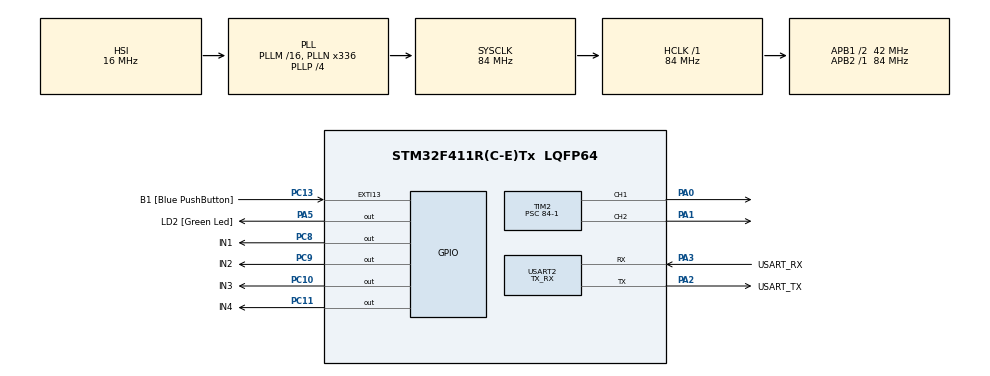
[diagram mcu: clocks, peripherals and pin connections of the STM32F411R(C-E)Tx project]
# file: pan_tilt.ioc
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Mcu.Family=STM32F4
Mcu.Name=STM32F411R(C-E)Tx
Mcu.Package=LQFP64
NVIC.PriorityGroup=NVIC_PRIORITYGROUP_0
NVIC.TIM2_IRQn=true\:0\:0\:false\:false\:true\:true\:true\:true
NVIC.TIM3_IRQn=true\:0\:0\:false\:false\:true\:true\:true\:true
NVIC.USART2_IRQn=true\:0\:0\:false\:false\:true\:true\:true\:true
PA0-WKUP.Signal=S_TIM2_CH1_ETR
PA1.Signal=S_TIM2_CH2
PA13.GPIO_Label=TMS
PA13.Mode=Serial_Wire
PA13.Signal=SYS_JTMS-SWDIO
PA14.GPIO_Label=TCK
PA14.Mode=Serial_Wire
PA14.Signal=SYS_JTCK-SWCLK
PA2.GPIO_Label=USART_TX
PA2.Mode=Asynchronous
PA2.Signal=USART2_TX
PA3.GPIO_Label=USART_RX
PA3.Mode=Asynchronous
PA3.Signal=USART2_RX
PA5.GPIO_Label=LD2 [Green Led]
PA5.Signal=GPIO_Output
PB3.GPIO_Label=SWO
PB3.Signal=SYS_JTDO-SWO
PC10.GPIO_Label=IN3
PC10.Signal=GPIO_Output
PC11.GPIO_Label=IN4
PC11.Signal=GPIO_Output
PC13-ANTI_TAMP.GPIO_Label=B1 [Blue PushButton]
PC13-ANTI_TAMP.GPIO_ModeDefaultEXTI=GPIO_MODE_IT_FALLING
PC13-ANTI_TAMP.Signal=GPXTI13
PC14-OSC32_IN.Mode=LSE-External-Oscillator
PC14-OSC32_IN.Signal=RCC_OSC32_IN
PC15-OSC32_OUT.Mode=LSE-External-Oscillator
PC15-OSC32_OUT.Signal=RCC_OSC32_OUT
PC8.GPIO_Label=IN1
PC8.Signal=GPIO_Output
PC9.GPIO_Label=IN2
PC9.Signal=GPIO_Output
PH0\ -\ OSC_IN.Mode=HSE-External-Clock-Source
PH0\ -\ OSC_IN.Signal=RCC_OSC_IN
PH1\ -\ OSC_OUT.Mode=HSE-External-Clock-Source
PH1\ -\ OSC_OUT.Signal=RCC_OSC_OUT
ProjectManager.HeapSize=0x200
ProjectManager.StackSize=0x400
ProjectManager.TargetToolchain=CMake
RCC.48MHZClocksFreq_Value=84000000
RCC.AHBFreq_Value=84000000
RCC.APB1CLKDivider=RCC_HCLK_DIV2
RCC.APB1Freq_Value=42000000
RCC.APB1TimFreq_Value=84000000
RCC.APB2Freq_Value=84000000
RCC.APB2TimFreq_Value=84000000
RCC.CortexFreq_Value=84000000
RCC.FLatency-AdvancedSettings=FLASH_LATENCY_2
RCC.HCLKFreq_Value=84000000
RCC.HSE_VALUE=8000000
RCC.HSI_VALUE=16000000
RCC.PLLN=336
RCC.PLLP=RCC_PLLP_DIV4
RCC.SYSCLKFreq_VALUE=84000000
RCC.SYSCLKSource=RCC_SYSCLKSOURCE_PLLCLK
RCC.VCOOutputFreq_Value=336000000
SH.S_TIM2_CH1_ETR.0=TIM2_CH1,PWM Generation1 CH1
SH.S_TIM2_CH2.0=TIM2_CH2,PWM Generation2 CH2
TIM2.Channel-PWM\ Generation1\ CH1=TIM_CHANNEL_1
TIM2.Channel-PWM\ Generation2\ CH2=TIM_CHANNEL_2
TIM2.Period=20000-1
TIM2.Prescaler=84-1
TIM3.Channel-Output\ Compare1\ No\ Output=TIM_CHANNEL_1
TIM3.Period=1000-1
TIM3.Prescaler=84-1
USART2.Mode=MODE_TX_RX
USART2.VirtualMode=VM_ASYNC
VP_TIM3_VS_no_output1.Mode=Output Compare1 No Output
board=NUCLEO-F411RE

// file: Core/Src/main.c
/* USER CODE BEGIN Header */
/**
 ******************************************************************************
 * @file           : main.c
 * @brief          : UART2 RX via DMA + IDLE interrupt
 ******************************************************************************
 * @attention
 * Copyright (c) 2025 STMicroelectronics.
 * All rights reserved.
 ******************************************************************************
 */
/* USER CODE END Header */
#include "main.h"

/* USER CODE BEGIN Includes */
#include <string.h>
/* USER CODE END Includes */

/* USER CODE BEGIN PD */
#define LEVEL_1_DEGREE 5
#define LEVEL_2_DEGREE 4
#define LEVEL_3_DEGREE 3
#define LEVEL_4_DEGREE 2
#define LEVEL_5_DEGREE 1

#define CMD_BUF_LEN 64
#define RX_BUF_LEN 128
/* USER CODE END PD */

TIM_HandleTypeDef htim2;
TIM_HandleTypeDef htim3;

UART_HandleTypeDef huart2;
DMA_HandleTypeDef hdma_usart2_rx;

/* USER CODE BEGIN PV */
volatile uint32_t last_uart_tick = 0;
uint8_t timeout_reset_flag = 0;

volatile uint8_t uart_flag = 0; // ISR에서 완성된 라인 존재 여부
char uart_buf[CMD_BUF_LEN];     // ISR에서 복사해서 메인에서 파싱할 버퍼

volatile uint32_t tick_1ms = 0;
volatile uint8_t sec_flag = 0;
volatile uint8_t sec3_flag = 0;

/* DMA 수신 버퍼 및 라인 누적 */
uint8_t rx_dma_buf[RX_BUF_LEN];
char line_accum[CMD_BUF_LEN];
uint16_t line_len = 0;

/* 팬/틸트 각도 상태 */
uint8_t current_servo_degree = 0;   // TIM2_CH1
uint8_t current_servo2_degree = 90; // TIM2_CH2
/* USER CODE END PV */

void SystemClock_Config(void);
static void MX_GPIO_Init(void);
static void MX_DMA_Init(void);
static void MX_USART2_UART_Init(void);
static void MX_TIM2_Init(void);
static void MX_TIM3_Init(void);
/* USER CODE BEGIN PFP */
void set_servo_degree(int degree);
void set_servo2_degree(int degree);
void parsing_command(char *cmd);
void control_pantilt(char area, int move_deg);

/* USER CODE END PFP */

int main(void)
{

  /* MCU Configuration--------------------------------------------------------*/

  /* Reset of all peripherals, Initializes the Flash interface and the Systick. */
  HAL_Init();

  /* Configure the system clock */
  SystemClock_Config();

  /* Initialize all configured peripherals */
  MX_GPIO_Init();
  MX_DMA_Init();
  MX_USART2_UART_Init();
  MX_TIM2_Init();
  MX_TIM3_Init();
  /* USER CODE BEGIN 2 */
  /* NVIC: USART2 IDLE IRQ 활성 (필수) */
  HAL_NVIC_SetPriority(USART2_IRQn, 0, 0);
  HAL_NVIC_EnableIRQ(USART2_IRQn);

  /* 타이머, PWM 시작 */
  HAL_TIM_Base_Start_IT(&htim3);
  HAL_TIM_PWM_Start(&htim2, TIM_CHANNEL_1);
  HAL_TIM_PWM_Start(&htim2, TIM_CHANNEL_2);

  set_servo_degree(0);
  set_servo2_degree(90);

  /* DMA + IDLE 수신 시작 */
  HAL_UARTEx_ReceiveToIdle_DMA(&huart2, rx_dma_buf, RX_BUF_LEN);
  /* USER CODE END 2 */

  /* Infinite loop */
  /* USER CODE BEGIN WHILE */
  while (1)
  {
    if (uart_flag)
    {
      uart_flag = 0;
      parsing_command(uart_buf);
    }

    if ((tick_1ms - last_uart_tick) > 2000 && timeout_reset_flag == 0)
    {
      set_servo_degree(0);
      set_servo2_degree(90);
      timeout_reset_flag = 1;
    }

    /* USER CODE END WHILE */

  }
}

void SystemClock_Config(void)
{
  RCC_OscInitTypeDef RCC_OscInitStruct = {0};
  RCC_ClkInitTypeDef RCC_ClkInitStruct = {0};

  /** Configure the main internal regulator output voltage
   */
  __HAL_RCC_PWR_CLK_ENABLE();
  __HAL_PWR_VOLTAGESCALING_CONFIG(PWR_REGULATOR_VOLTAGE_SCALE1);

  /** Initializes the RCC Oscillators according to the specified parameters
   * in the RCC_OscInitTypeDef structure.
   */
  RCC_OscInitStruct.OscillatorType = RCC_OSCILLATORTYPE_HSI;
  RCC_OscInitStruct.HSIState = RCC_HSI_ON;
  RCC_OscInitStruct.HSICalibrationValue = RCC_HSICALIBRATION_DEFAULT;
  RCC_OscInitStruct.PLL.PLLState = RCC_PLL_ON;
  RCC_OscInitStruct.PLL.PLLSource = RCC_PLLSOURCE_HSI;
  RCC_OscInitStruct.PLL.PLLM = 16;
  RCC_OscInitStruct.PLL.PLLN = 336;
  RCC_OscInitStruct.PLL.PLLP = RCC_PLLP_DIV4;
  RCC_OscInitStruct.PLL.PLLQ = 4;
  if (HAL_RCC_OscConfig(&RCC_OscInitStruct) != HAL_OK)
  {
    Error_Handler();
  }

  /** Initializes the CPU, AHB and APB buses clocks
   */
  RCC_ClkInitStruct.ClockType = RCC_CLOCKTYPE_HCLK | RCC_CLOCKTYPE_SYSCLK | RCC_CLOCKTYPE_PCLK1 | RCC_CLOCKTYPE_PCLK2;
  RCC_ClkInitStruct.SYSCLKSource = RCC_SYSCLKSOURCE_PLLCLK;
  RCC_ClkInitStruct.AHBCLKDivider = RCC_SYSCLK_DIV1;
  RCC_ClkInitStruct.APB1CLKDivider = RCC_HCLK_DIV2;
  RCC_ClkInitStruct.APB2CLKDivider = RCC_HCLK_DIV1;

  if (HAL_RCC_ClockConfig(&RCC_ClkInitStruct, FLASH_LATENCY_2) != HAL_OK)
  {
    Error_Handler();
  }
}

static void MX_TIM2_Init(void)
{

  TIM_MasterConfigTypeDef sMasterConfig = {0};
  TIM_OC_InitTypeDef sConfigOC = {0};

  htim2.Instance = TIM2;
  htim2.Init.Prescaler = 84 - 1;
  htim2.Init.CounterMode = TIM_COUNTERMODE_UP;
  htim2.Init.Period = 20000 - 1;
  htim2.Init.ClockDivision = TIM_CLOCKDIVISION_DIV1;
  htim2.Init.AutoReloadPreload = TIM_AUTORELOAD_PRELOAD_DISABLE;
  if (HAL_TIM_PWM_Init(&htim2) != HAL_OK)
  {
    Error_Handler();
  }
  sMasterConfig.MasterOutputTrigger = TIM_TRGO_RESET;
  sMasterConfig.MasterSlaveMode = TIM_MASTERSLAVEMODE_DISABLE;
  if (HAL_TIMEx_MasterConfigSynchronization(&htim2, &sMasterConfig) != HAL_OK)
  {
    Error_Handler();
  }
  sConfigOC.OCMode = TIM_OCMODE_PWM1;
  sConfigOC.Pulse = 0;
  sConfigOC.OCPolarity = TIM_OCPOLARITY_HIGH;
  sConfigOC.OCFastMode = TIM_OCFAST_DISABLE;
  if (HAL_TIM_PWM_ConfigChannel(&htim2, &sConfigOC, TIM_CHANNEL_1) != HAL_OK)
  {
    Error_Handler();
  }
  if (HAL_TIM_PWM_ConfigChannel(&htim2, &sConfigOC, TIM_CHANNEL_2) != HAL_OK)
  {
    Error_Handler();
  }
  HAL_TIM_MspPostInit(&htim2);
}

static void MX_TIM3_Init(void)
{

  TIM_MasterConfigTypeDef sMasterConfig = {0};
  TIM_OC_InitTypeDef sConfigOC = {0};

  htim3.Instance = TIM3;
  htim3.Init.Prescaler = 84 - 1;
  htim3.Init.CounterMode = TIM_COUNTERMODE_UP;
  htim3.Init.Period = 1000 - 1;
  htim3.Init.ClockDivision = TIM_CLOCKDIVISION_DIV1;
  htim3.Init.AutoReloadPreload = TIM_AUTORELOAD_PRELOAD_DISABLE;
  if (HAL_TIM_OC_Init(&htim3) != HAL_OK)
  {
    Error_Handler();
  }
  sMasterConfig.MasterOutputTrigger = TIM_TRGO_RESET;
  sMasterConfig.MasterSlaveMode = TIM_MASTERSLAVEMODE_DISABLE;
  if (HAL_TIMEx_MasterConfigSynchronization(&htim3, &sMasterConfig) != HAL_OK)
  {
    Error_Handler();
  }
  sConfigOC.OCMode = TIM_OCMODE_TIMING;
  sConfigOC.Pulse = 0;
  sConfigOC.OCPolarity = TIM_OCPOLARITY_HIGH;
  sConfigOC.OCFastMode = TIM_OCFAST_DISABLE;
  if (HAL_TIM_OC_ConfigChannel(&htim3, &sConfigOC, TIM_CHANNEL_1) != HAL_OK)
  {
    Error_Handler();
  }
}

static void MX_USART2_UART_Init(void)
{

  huart2.Instance = USART2;
  huart2.Init.BaudRate = 115200;
  huart2.Init.WordLength = UART_WORDLENGTH_8B;
  huart2.Init.StopBits = UART_STOPBITS_1;
  huart2.Init.Parity = UART_PARITY_NONE;
  huart2.Init.Mode = UART_MODE_TX_RX;
  huart2.Init.HwFlowCtl = UART_HWCONTROL_NONE;
  huart2.Init.OverSampling = UART_OVERSAMPLING_16;
  if (HAL_UART_Init(&huart2) != HAL_OK)
  {
    Error_Handler();
  }
}

static void MX_DMA_Init(void)
{

  /* DMA controller clock enable */
  __HAL_RCC_DMA1_CLK_ENABLE();

  /* DMA interrupt init */
  /* DMA1_Stream5_IRQn interrupt configuration */
  HAL_NVIC_SetPriority(DMA1_Stream5_IRQn, 0, 0);
  HAL_NVIC_EnableIRQ(DMA1_Stream5_IRQn);
}

static void MX_GPIO_Init(void)
{
  GPIO_InitTypeDef GPIO_InitStruct = {0};

  /* GPIO Ports Clock Enable */
  __HAL_RCC_GPIOC_CLK_ENABLE();
  __HAL_RCC_GPIOH_CLK_ENABLE();
  __HAL_RCC_GPIOA_CLK_ENABLE();
  __HAL_RCC_GPIOB_CLK_ENABLE();

  /*Configure GPIO pin Output Level */
  HAL_GPIO_WritePin(LD2_GPIO_Port, LD2_Pin, GPIO_PIN_RESET);

  /*Configure GPIO pin Output Level */
  HAL_GPIO_WritePin(GPIOC, IN1_Pin | IN2_Pin | IN3_Pin | IN4_Pin, GPIO_PIN_RESET);

  /*Configure GPIO pin : B1_Pin */
  GPIO_InitStruct.Pin = B1_Pin;
  GPIO_InitStruct.Mode = GPIO_MODE_IT_FALLING;
  GPIO_InitStruct.Pull = GPIO_NOPULL;
  HAL_GPIO_Init(B1_GPIO_Port, &GPIO_InitStruct);

  /*Configure GPIO pin : LD2_Pin */
  GPIO_InitStruct.Pin = LD2_Pin;
  GPIO_InitStruct.Mode = GPIO_MODE_OUTPUT_PP;
  GPIO_InitStruct.Pull = GPIO_NOPULL;
  GPIO_InitStruct.Speed = GPIO_SPEED_FREQ_LOW;
  HAL_GPIO_Init(LD2_GPIO_Port, &GPIO_InitStruct);

  /*Configure GPIO pins : IN1_Pin IN2_Pin IN3_Pin IN4_Pin */
  GPIO_InitStruct.Pin = IN1_Pin | IN2_Pin | IN3_Pin | IN4_Pin;
  GPIO_InitStruct.Mode = GPIO_MODE_OUTPUT_PP;
  GPIO_InitStruct.Pull = GPIO_NOPULL;
  GPIO_InitStruct.Speed = GPIO_SPEED_FREQ_LOW;
  HAL_GPIO_Init(GPIOC, &GPIO_InitStruct);

}

/* USER CODE BEGIN 4 */
/* 타이머 콜백(그대로) */
void HAL_TIM_PeriodElapsedCallback(TIM_HandleTypeDef *htim)
{
  if (htim->Instance == TIM3)
  {
    tick_1ms++;
    if ((tick_1ms % 1000) == 0)
      sec_flag = 1;
    if ((tick_1ms % 3000) == 0)
      sec3_flag = 1;
  }
}

/* DMA+IDLE 수신 콜백 */
void HAL_UARTEx_RxEventCallback(UART_HandleTypeDef *huart, uint16_t Size)
{
  if (huart->Instance != USART2)
  {
    HAL_UARTEx_ReceiveToIdle_DMA(huart, rx_dma_buf, RX_BUF_LEN);
    __HAL_DMA_DISABLE_IT(&hdma_usart2_rx, DMA_IT_HT); // 선택
    return;
  }

  for (uint16_t i = 0; i < Size; i++)
  {
    uint8_t ch = rx_dma_buf[i];
    if (ch == '\r')
      continue;
    if (ch == '\n')
    {
      line_accum[line_len] = 0;
      if (line_len > 0 && !uart_flag) // 플래그 중복 방지
      {
        if (line_len < CMD_BUF_LEN) // overflow 방지
        {
          memcpy(uart_buf, line_accum, line_len);
          uart_buf[line_len] = 0;
          uart_flag = 1; // 수신 완료 플래그
        }
      }
      line_len = 0;
    }
    else if (line_len < CMD_BUF_LEN - 1)
    {
      line_accum[line_len++] = (char)ch;
    }
    else
    {
      line_len = 0; // overflow시 리셋
    }
  }
  last_uart_tick = tick_1ms;
  timeout_reset_flag = 0;

  HAL_UARTEx_ReceiveToIdle_DMA(&huart2, rx_dma_buf, RX_BUF_LEN);
}

void set_servo_degree(int degree)
{
  if (degree < 0)
    degree = 0;
  if (degree > 90)
    degree = 90;
  uint16_t pulse = 500 + ((uint16_t)degree * 2000) / 180;
  __HAL_TIM_SET_COMPARE(&htim2, TIM_CHANNEL_1, pulse);
  current_servo_degree = degree;
}

void set_servo2_degree(int degree)
{
  if (degree < 0)
    degree = 0;
  if (degree > 180)
    degree = 180;
  uint16_t pulse = 500 + ((uint16_t)degree * 2000) / 180;
  __HAL_TIM_SET_COMPARE(&htim2, TIM_CHANNEL_2, pulse);
  current_servo2_degree = degree;
}

void parsing_command(char *recvBuf)
{
  if (recvBuf[0] == 'R' && recvBuf[1] == '\0')
  {
    set_servo_degree(0);
    set_servo2_degree(90);
    return;
  }

  int i = 0;
  char *pToken;
  char *pArray[2] = {0};

  if (recvBuf[strlen(recvBuf) - 1] == '\n')
    recvBuf[strlen(recvBuf) - 1] = '\0';

  pToken = strtok(recvBuf, "@");
  while (pToken != NULL)
  {
    pArray[i] = pToken;
    if (++i >= 2)
      break;
    pToken = strtok(NULL, "@");
  }

  if (i < 2 || !pArray[0] || !pArray[1])
    return;

  char area = pArray[0][0];
  int level = 1;

  if (strlen(pArray[1]) == 1 && pArray[1][0] >= '1' && pArray[1][0] <= '5')
    level = pArray[1][0] - '0';
  else
    return;

  int move_deg = 1;
  switch (level)
  {
  case 1:
    move_deg = LEVEL_1_DEGREE;
    break;
  case 2:
    move_deg = LEVEL_2_DEGREE;
    break;
  case 3:
    move_deg = LEVEL_3_DEGREE;
    break;
  case 4:
    move_deg = LEVEL_4_DEGREE;
    break;
  case 5:
    move_deg = LEVEL_5_DEGREE;
    break;
  }
  control_pantilt(area, move_deg);
}

void control_pantilt(char area, int move_deg)
{
  switch (area)
  {
  case 'E':
    set_servo_degree((current_servo_degree + move_deg > 180) ? 180 : current_servo_degree + move_deg);
    set_servo2_degree((current_servo2_degree >= move_deg) ? current_servo2_degree - move_deg : 0);
    break;
  case 'W':
    set_servo_degree((current_servo_degree + move_deg > 180) ? 180 : current_servo_degree + move_deg);
    break;
  case 'Q':
    set_servo_degree((current_servo_degree + move_deg > 180) ? 180 : current_servo_degree + move_deg);
    set_servo2_degree((current_servo2_degree + move_deg > 180) ? 180 : current_servo2_degree + move_deg);
    break;
  case 'D':
    set_servo2_degree((current_servo2_degree >= move_deg) ? current_servo2_degree - move_deg : 0);
    break;
  case 'S':
    break;
  case 'A':
    set_servo2_degree((current_servo2_degree + move_deg > 180) ? 180 : current_servo2_degree + move_deg);
    break;
  case 'C':
    set_servo_degree((current_servo_degree >= move_deg) ? current_servo_degree - move_deg : 0);
    set_servo2_degree((current_servo2_degree >= move_deg) ? current_servo2_degree - move_deg : 0);
    break;
  case 'X':
    set_servo_degree((current_servo_degree >= move_deg) ? current_servo_degree - move_deg : 0);
    break;
  case 'Z':
    set_servo_degree((current_servo_degree >= move_deg) ? current_servo_degree - move_deg : 0);
    set_servo2_degree((current_servo2_degree + move_deg > 180) ? 180 : current_servo2_degree + move_deg);
    break;
  default:
    break;
  }
}
/* USER CODE END 4 */

void Error_Handler(void)
{
  __disable_irq();
  while (1)
  {
  }
}
